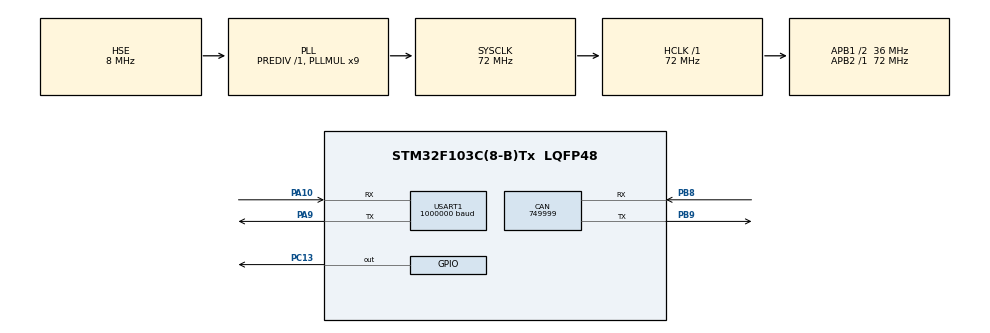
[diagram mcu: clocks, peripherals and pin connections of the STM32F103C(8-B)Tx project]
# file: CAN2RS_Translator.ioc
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CAN.BS1=CAN_BS1_1TQ
CAN.BS2=CAN_BS2_1TQ
CAN.CalculateBaudRate=749999
CAN.CalculateTimeBit=1333
CAN.CalculateTimeQuantum=444.44444444444446
Dma.Request0=USART1_RX
Dma.Request1=USART1_TX
Dma.USART1_RX.0.Direction=DMA_PERIPH_TO_MEMORY
Dma.USART1_RX.0.Instance=DMA1_Channel5
Dma.USART1_RX.0.MemDataAlignment=DMA_MDATAALIGN_BYTE
Dma.USART1_RX.0.MemInc=DMA_MINC_ENABLE
Dma.USART1_RX.0.Mode=DMA_CIRCULAR
Dma.USART1_RX.0.PeriphDataAlignment=DMA_PDATAALIGN_BYTE
Dma.USART1_RX.0.PeriphInc=DMA_PINC_DISABLE
Dma.USART1_RX.0.Priority=DMA_PRIORITY_LOW
Dma.USART1_TX.1.Direction=DMA_MEMORY_TO_PERIPH
Dma.USART1_TX.1.Instance=DMA1_Channel4
Dma.USART1_TX.1.MemDataAlignment=DMA_MDATAALIGN_BYTE
Dma.USART1_TX.1.MemInc=DMA_MINC_ENABLE
Dma.USART1_TX.1.Mode=DMA_NORMAL
Dma.USART1_TX.1.PeriphDataAlignment=DMA_PDATAALIGN_BYTE
Dma.USART1_TX.1.PeriphInc=DMA_PINC_DISABLE
Dma.USART1_TX.1.Priority=DMA_PRIORITY_LOW
Mcu.Family=STM32F1
Mcu.Name=STM32F103C(8-B)Tx
Mcu.Package=LQFP48
NVIC.DMA1_Channel4_IRQn=true\:0\:0\:false\:false\:true\:false\:true\:true
NVIC.DMA1_Channel5_IRQn=true\:0\:0\:false\:false\:true\:false\:true\:true
NVIC.PriorityGroup=NVIC_PRIORITYGROUP_4
PA10.Mode=Asynchronous
PA10.Signal=USART1_RX
PA9.Mode=Asynchronous
PA9.Signal=USART1_TX
PB8.Mode=CAN_Activate
PB8.Signal=CAN_RX
PB9.Mode=CAN_Activate
PB9.Signal=CAN_TX
PC13-TAMPER-RTC.Signal=GPIO_Output
PD0-OSC_IN.Mode=HSE-External-Oscillator
PD0-OSC_IN.Signal=RCC_OSC_IN
PD1-OSC_OUT.Mode=HSE-External-Oscillator
PD1-OSC_OUT.Signal=RCC_OSC_OUT
ProjectManager.HeapSize=0x200
ProjectManager.StackSize=0x400
ProjectManager.TargetToolchain=STM32CubeIDE
RCC.AHBFreq_Value=72000000
RCC.APB1CLKDivider=RCC_HCLK_DIV2
RCC.APB1Freq_Value=36000000
RCC.APB1TimFreq_Value=72000000
RCC.APB2Freq_Value=72000000
RCC.APB2TimFreq_Value=72000000
RCC.HCLKFreq_Value=72000000
RCC.PLLMUL=RCC_PLL_MUL9
RCC.PLLSourceVirtual=RCC_PLLSOURCE_HSE
RCC.SYSCLKFreq_VALUE=72000000
RCC.SYSCLKSource=RCC_SYSCLKSOURCE_PLLCLK
RCC.USBFreq_Value=72000000
USART1.BaudRate=1000000
USART1.VirtualMode=VM_ASYNC
VP_SYS_VS_ND.Mode=No_Debug
board=custom

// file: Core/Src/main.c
/* USER CODE BEGIN Header */
/**
  ******************************************************************************
  * @file           : main.c
  * @brief          : Main program body
  ******************************************************************************
  * @attention
  *
  * Copyright (c) 2025 STMicroelectronics.
  * All rights reserved.
  *
  * This software is licensed under terms that can be found in the LICENSE file
  * in the root directory of this software component.
  * If no LICENSE file comes with this software, it is provided AS-IS.
  *
  ******************************************************************************
  */
/* USER CODE END Header */
#include "main.h"

/* USER CODE BEGIN Includes */
#include "stm32f1xx_hal.h"
#include "uart.h"
#include "can_drv.h"
#include "sensor.h"
#include "debug.h"
/* USER CODE END Includes */

CAN_HandleTypeDef hcan;

/* USER CODE BEGIN PV */
uint8_t rx_buf[RX_BUF_SIZE];
/* USER CODE END PV */

void SystemClock_Config(void);
static void MX_GPIO_Init(void);
static void MX_DMA_Init(void);
static void MX_CAN_Init(void);
static void MX_USART1_UART_Init(void);

int main(void)
{

  /* MCU Configuration--------------------------------------------------------*/

  /* Reset of all peripherals, Initializes the Flash interface and the Systick. */
  HAL_Init();

  /* Configure the system clock */
  SystemClock_Config();

  /* Initialize all configured peripherals */
  MX_GPIO_Init();
  MX_DMA_Init();
  MX_CAN_Init();
  MX_USART1_UART_Init();
  /* USER CODE BEGIN 2 */
  HAL_SYSTICK_Config(HAL_RCC_GetHCLKFreq()/1000);
  HAL_SYSTICK_CLKSourceConfig(SYSTICK_CLKSOURCE_HCLK);

  UART_Init();         // UART1 @1 000 000 baud, DMA RX/TX, RS-485 DE control
  CAN_Init();          // CAN1 500 kHz (зависит от дисплея шины)
  SENSOR_Init();       // Инициализация «звездного датчика» (RS-485 интерфейс)
  DEBUG_Init();        // Инициализация отладочных модулей
  /* USER CODE END 2 */

  /* Infinite loop */
  /* USER CODE BEGIN WHILE */
  while (1)
  {
	    SENSOR_Process();    // трансляция CAN↔RS485, контроль зонда
	    DEBUG_SelfTest();    // мониторинг ошибок, перезапуск при критике
    /* USER CODE END WHILE */

  }
}

void SystemClock_Config(void)
{
  RCC_OscInitTypeDef RCC_OscInitStruct = {0};
  RCC_ClkInitTypeDef RCC_ClkInitStruct = {0};

  /** Initializes the RCC Oscillators according to the specified parameters
  * in the RCC_OscInitTypeDef structure.
  */
  RCC_OscInitStruct.OscillatorType = RCC_OSCILLATORTYPE_HSE;
  RCC_OscInitStruct.HSEState = RCC_HSE_ON;
  RCC_OscInitStruct.HSEPredivValue = RCC_HSE_PREDIV_DIV1;
  RCC_OscInitStruct.HSIState = RCC_HSI_ON;
  RCC_OscInitStruct.PLL.PLLState = RCC_PLL_ON;
  RCC_OscInitStruct.PLL.PLLSource = RCC_PLLSOURCE_HSE;
  RCC_OscInitStruct.PLL.PLLMUL = RCC_PLL_MUL9;
  if (HAL_RCC_OscConfig(&RCC_OscInitStruct) != HAL_OK)
  {
    Error_Handler();
  }

  /** Initializes the CPU, AHB and APB buses clocks
  */
  RCC_ClkInitStruct.ClockType = RCC_CLOCKTYPE_HCLK|RCC_CLOCKTYPE_SYSCLK
                              |RCC_CLOCKTYPE_PCLK1|RCC_CLOCKTYPE_PCLK2;
  RCC_ClkInitStruct.SYSCLKSource = RCC_SYSCLKSOURCE_PLLCLK;
  RCC_ClkInitStruct.AHBCLKDivider = RCC_SYSCLK_DIV1;
  RCC_ClkInitStruct.APB1CLKDivider = RCC_HCLK_DIV2;
  RCC_ClkInitStruct.APB2CLKDivider = RCC_HCLK_DIV1;

  if (HAL_RCC_ClockConfig(&RCC_ClkInitStruct, FLASH_LATENCY_2) != HAL_OK)
  {
    Error_Handler();
  }
}

static void MX_CAN_Init(void)
{

  hcan.Instance = CAN1;
  hcan.Init.Prescaler = 16;
  hcan.Init.Mode = CAN_MODE_NORMAL;
  hcan.Init.SyncJumpWidth = CAN_SJW_1TQ;
  hcan.Init.TimeSeg1 = CAN_BS1_1TQ;
  hcan.Init.TimeSeg2 = CAN_BS2_1TQ;
  hcan.Init.TimeTriggeredMode = DISABLE;
  hcan.Init.AutoBusOff = DISABLE;
  hcan.Init.AutoWakeUp = DISABLE;
  hcan.Init.AutoRetransmission = DISABLE;
  hcan.Init.ReceiveFifoLocked = DISABLE;
  hcan.Init.TransmitFifoPriority = DISABLE;
  if (HAL_CAN_Init(&hcan) != HAL_OK)
  {
    Error_Handler();
  }

}

static void MX_USART1_UART_Init(void)
{

  huart1.Instance = USART1;
  huart1.Init.BaudRate = 1000000;
  huart1.Init.WordLength = UART_WORDLENGTH_8B;
  huart1.Init.StopBits = UART_STOPBITS_1;
  huart1.Init.Parity = UART_PARITY_NONE;
  huart1.Init.Mode = UART_MODE_TX_RX;
  huart1.Init.HwFlowCtl = UART_HWCONTROL_NONE;
  huart1.Init.OverSampling = UART_OVERSAMPLING_16;
  if (HAL_UART_Init(&huart1) != HAL_OK)
  {
    Error_Handler();
  }
  /* USER CODE BEGIN USART1_Init 2 */
	HAL_UART_Receive_DMA(&huart1, rx_buf, RX_BUF_SIZE);
	__HAL_UART_ENABLE_IT(&huart1, UART_IT_IDLE);

	// ↓↓↓ Разрешаем прерывание USART1_IRQn в NVIC ↓↓↓
	HAL_NVIC_SetPriority(USART1_IRQn, 1, 0);
	HAL_NVIC_EnableIRQ(USART1_IRQn);
  /* USER CODE END USART1_Init 2 */

}

static void MX_DMA_Init(void)
{

  /* DMA controller clock enable */
  __HAL_RCC_DMA1_CLK_ENABLE();

  /* DMA interrupt init */
  /* DMA1_Channel4_IRQn interrupt configuration */
  HAL_NVIC_SetPriority(DMA1_Channel4_IRQn, 0, 0);
  HAL_NVIC_EnableIRQ(DMA1_Channel4_IRQn);
  /* DMA1_Channel5_IRQn interrupt configuration */
  HAL_NVIC_SetPriority(DMA1_Channel5_IRQn, 0, 0);
  HAL_NVIC_EnableIRQ(DMA1_Channel5_IRQn);

}

static void MX_GPIO_Init(void)
{
  GPIO_InitTypeDef GPIO_InitStruct = {0};

  /* GPIO Ports Clock Enable */
  __HAL_RCC_GPIOC_CLK_ENABLE();
  __HAL_RCC_GPIOD_CLK_ENABLE();
  __HAL_RCC_GPIOA_CLK_ENABLE();
  __HAL_RCC_GPIOB_CLK_ENABLE();

  /*Configure GPIO pin Output Level */
  HAL_GPIO_WritePin(GPIOC, GPIO_PIN_13, GPIO_PIN_RESET);

  /*Configure GPIO pin : PC13 */
  GPIO_InitStruct.Pin = GPIO_PIN_13;
  GPIO_InitStruct.Mode = GPIO_MODE_OUTPUT_PP;
  GPIO_InitStruct.Pull = GPIO_NOPULL;
  GPIO_InitStruct.Speed = GPIO_SPEED_FREQ_LOW;
  HAL_GPIO_Init(GPIOC, &GPIO_InitStruct);

}

void Error_Handler(void)
{
  __disable_irq();
  while (1)
  {
  }
}
